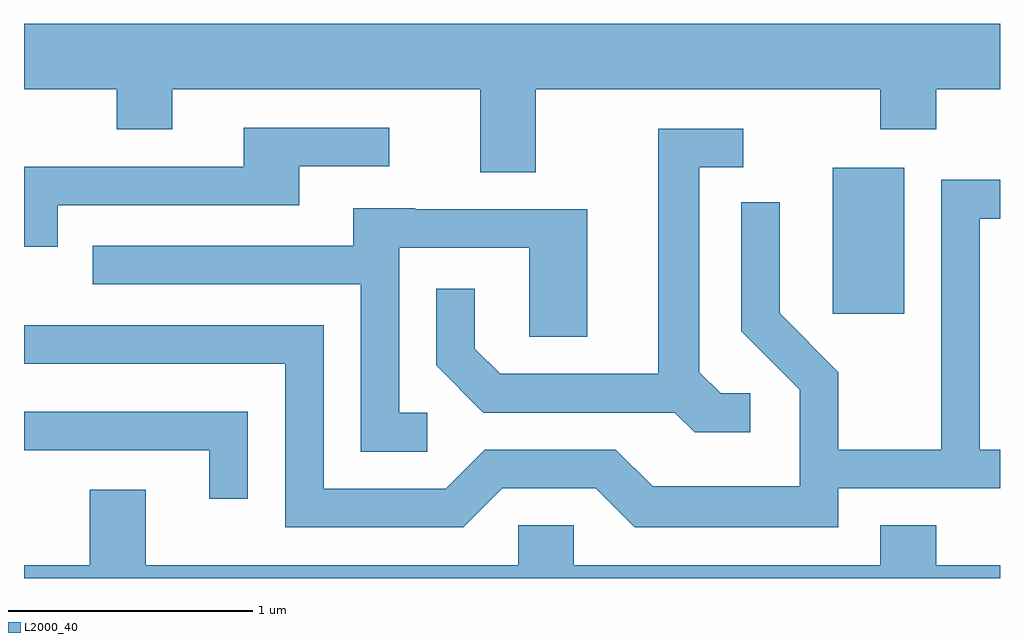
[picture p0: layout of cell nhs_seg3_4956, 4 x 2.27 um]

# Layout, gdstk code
import gdstk
lib = gdstk.Library(unit=1e-6, precision=1e-09)
def R(c, l, rs):  # rectangles x0, y0, x1, y1
    for r in rs: c.add(gdstk.rectangle(r[:2], r[2:], *l))
def P(c, l, *ps):  # polygons
    for p in ps: c.add(gdstk.Polygon(p, *l))
L2000_40 = (2000, 40)

nhs_seg3_4956 = lib.new_cell('nhs_seg3_4956')
R(nhs_seg3_4956, L2000_40, [(332.926,1244.976,333.219,1245.574)])
P(nhs_seg3_4956, L2000_40, [(331.709,1245.896),(333.121,1245.896),(333.121,1245.731),(333.349,1245.731),(333.349,1245.896),(333.611,1245.896),(333.611,1246.164),(329.611,1246.164),(329.611,1245.896),(329.991,1245.896),(329.991,1245.731),(330.219,1245.731),(330.219,1245.896),(331.481,1245.896),(331.481,1245.556),(331.709,1245.556)],
  [(329.749,1245.421),(330.739,1245.421),(330.739,1245.581),(331.108,1245.581),(331.108,1245.739),(330.511,1245.739),(330.511,1245.579),(329.611,1245.579),(329.611,1245.251),(329.749,1245.251)],
  [(332.588,1244.649),(332.467,1244.649),(332.379,1244.737),(332.379,1245.576),(332.558,1245.576),(332.558,1245.734),(332.211,1245.734),(332.211,1244.729),(331.562,1244.729),(331.459,1244.832),(331.459,1245.078),(331.301,1245.078),(331.301,1244.764),(331.494,1244.571),(332.279,1244.571),(332.359,1244.491),(332.588,1244.491)],
  [(331.572,1244.261),(331.954,1244.261),(332.114,1244.101),(332.949,1244.101),(332.949,1244.261),(333.611,1244.261),(333.611,1244.419),(333.529,1244.419),(333.529,1245.366),(333.611,1245.366),(333.611,1245.524),(333.371,1245.524),(333.371,1244.419),(332.949,1244.419),(332.949,1244.737),(332.709,1244.977),(332.709,1245.433),(332.551,1245.433),(332.551,1244.904),(332.791,1244.664),(332.791,1244.269),(332.187,1244.269),(332.037,1244.419),(331.499,1244.419),(331.339,1244.259),(330.839,1244.259),(330.839,1244.929),(329.611,1244.929),(329.611,1244.771),(330.681,1244.771),(330.681,1244.101),(331.412,1244.101)],
  [(331.263,1244.569),(331.149,1244.569),(331.149,1245.246),(331.681,1245.246),(331.681,1244.881),(331.919,1244.881),(331.919,1245.404),(331.215,1245.404),(331.215,1245.409),(330.961,1245.409),(330.961,1245.254),(329.893,1245.254),(329.893,1245.096),(330.991,1245.096),(330.991,1244.411),(331.263,1244.411)],
  [(330.529,1244.574),(329.611,1244.574),(329.611,1244.416),(330.371,1244.416),(330.371,1244.218),(330.529,1244.218)],
  [(333.611,1243.944),(333.349,1243.944),(333.349,1244.109),(333.121,1244.109),(333.121,1243.944),(331.864,1243.944),(331.864,1244.109),(331.636,1244.109),(331.636,1243.944),(330.109,1243.944),(330.109,1244.254),(329.881,1244.254),(329.881,1243.944),(329.611,1243.944),(329.611,1243.892),(333.611,1243.892)])

lib.write_gds('nhs_seg3_4956.gds')
